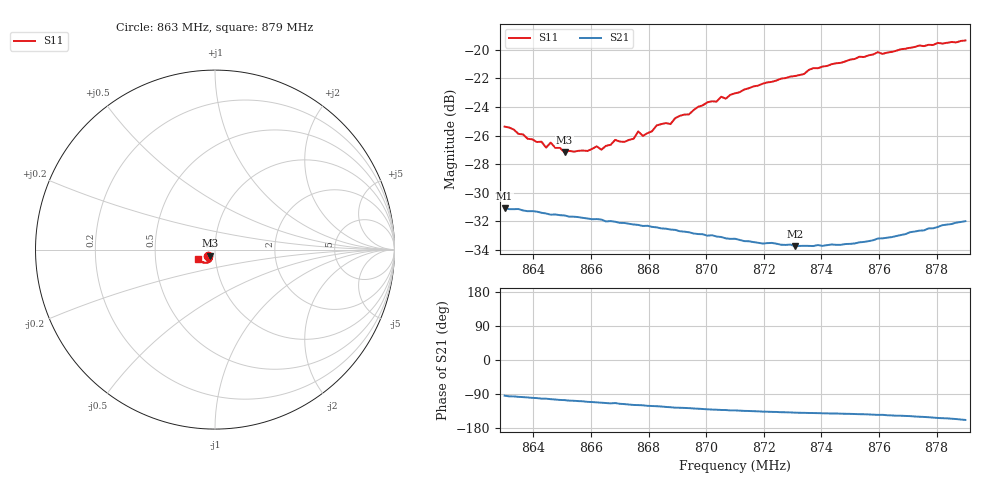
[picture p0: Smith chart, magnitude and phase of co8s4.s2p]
# HZ S RI R 50
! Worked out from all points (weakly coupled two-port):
!   101 points, 863 MHz to 879 MHz, reference 50 ohm
!   highest |S21| = -31.07 dB at 863 MHz (marker M1); lowest = -33.7 dB at 873.08 MHz (marker M2)
!   lowest |S11| = -27.2 dB at 865.08 MHz (marker M3), VSWR 1.09, Z = 47.2 - j3.22 ohm
!   |S11| at or under -10 dB: start of sweep to end of sweep
!   S12 and S22 are empty: the file has one direction only
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8.63e8  -0.0416 -0.0342  -0.00198 -0.0279  0 0  0 0
8.6428e8  -0.0329 -0.0346  -0.00558 -0.0263  0 0  0 0
8.6444e8  -0.0319 -0.0324  -0.00561 -0.0262  0 0  0 0
8.646e8  -0.0325 -0.0344  -0.00609 -0.0258  0 0  0 0
8.6508e8  -0.0274 -0.0341  -0.00718 -0.0253  0 0  0 0
8.6572e8  -0.024 -0.0374  -0.00843 -0.0244  0 0  0 0
8.662e8  -0.0236 -0.0394  -0.00951 -0.0237  0 0  0 0
8.6636e8  -0.0223 -0.0387  -0.00982 -0.0235  0 0  0 0
8.6684e8  -0.0208 -0.0437  -0.01 -0.0229  0 0  0 0
8.6748e8  -0.0166 -0.0459  -0.0117 -0.0215  0 0  0 0
8.6764e8  -0.021 -0.0474  -0.0118 -0.0213  0 0  0 0
8.678e8  -0.019 -0.0462  -0.0119 -0.021  0 0  0 0
8.6844e8  -0.02 -0.0512  -0.0128 -0.0199  0 0  0 0
8.6876e8  -0.017 -0.0523  -0.0134 -0.0193  0 0  0 0
8.6892e8  -0.0195 -0.0542  -0.0137 -0.019  0 0  0 0
8.694e8  -0.0191 -0.0562  -0.0138 -0.0184  0 0  0 0
8.7004e8  -0.0229 -0.0614  -0.0144 -0.0171  0 0  0 0
8.71e8  -0.0268 -0.0652  -0.0149 -0.016  0 0  0 0
8.7308e8  -0.0393 -0.0708  -0.0155 -0.0135  0 0  0 0
8.7372e8  -0.0445 -0.0739  -0.0158 -0.0132  0 0  0 0
8.7644e8  -0.0692 -0.0698  -0.0184 -0.0123  0 0  0 0
8.79e8  -0.0931 -0.0543  -0.0233 -0.00936  0 0  0 0
